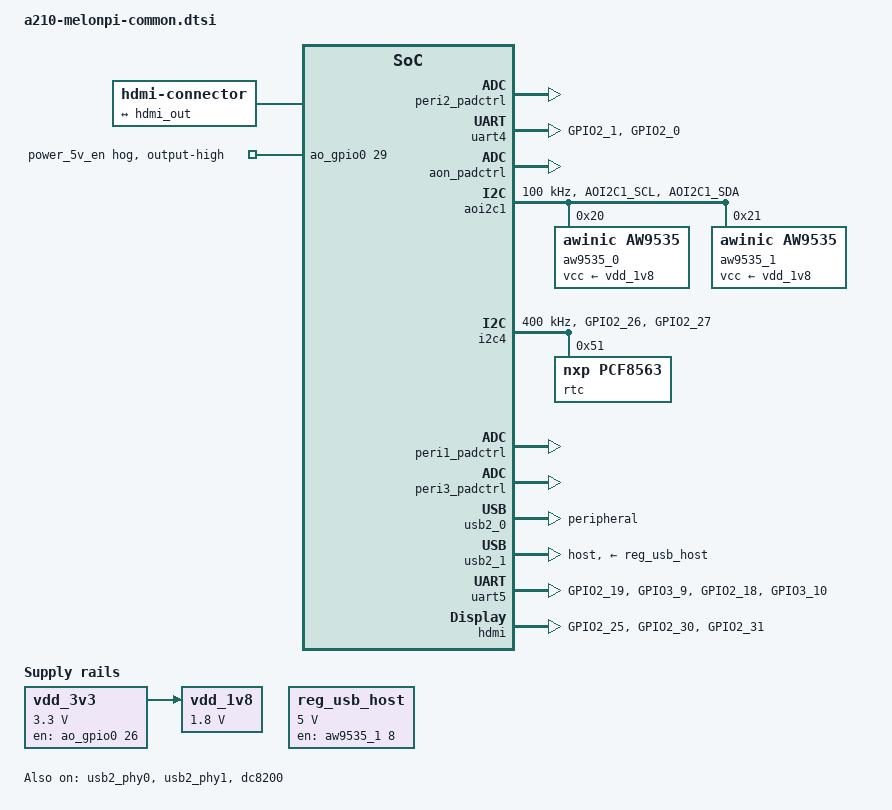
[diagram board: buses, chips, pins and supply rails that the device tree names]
// SPDX-License-Identifier: (GPL-2.0-only OR BSD-2-Clause)

#include "a210-som.dtsi"
#include <dt-bindings/gpio/gpio.h>

/ {
	aliases {
		mmc1 = &sdio;
		serial0 = &uart0;
		serial1 = &uart1;
		serial2 = &uart2;
		serial3 = &uart3;
		serial4 = &uart4;
		serial5 = &uart5;
		serial6 = &uart6;
		serial7 = &uart7;
		serial8 = &uart8;
		serial9 = &uart9;
	};

	chosen {
		stdout-path = "serial4:115200n8";
	};

	hdmi-connector {
		compatible = "hdmi-connector";
		type = "a";

		port {
			hdmi_con_in: endpoint {
				remote-endpoint = <&hdmi_out>;
			};
		};
	};

	vdd_1v8: regulator-1v8 {
		compatible = "regulator-fixed";
		regulator-always-on;
		regulator-max-microvolt = <1800000>;
		regulator-min-microvolt = <1800000>;
		regulator-name = "vdd-1v8";
		vin-supply = <&vdd_3v3>;
	};

	vdd_3v3: regulator-3v3 {
		compatible = "regulator-fixed";
		enable-active-high;
		gpio = <&ao_gpio0 26 GPIO_ACTIVE_HIGH>;
		regulator-always-on;
		regulator-boot-on;
		regulator-max-microvolt = <3300000>;
		regulator-min-microvolt = <3300000>;
		regulator-name = "vdd-3v3";
	};

	reg_usb_host: regulator-usb-host {
		compatible = "regulator-fixed";
		enable-active-high;
		gpio = <&aw9535_1 8 GPIO_ACTIVE_HIGH>;
		regulator-max-microvolt = <5000000>;
		regulator-min-microvolt = <5000000>;
		regulator-name = "usb-host-vbus";
		startup-delay-us = <10000>;
	};
};

&peri2_padctrl {
	status = "okay";

	hdmi_pins: hdmi-0 {
		hdmi-pins {
			pins = "GPIO2_25", "GPIO2_30", "GPIO2_31";
			function = "hdmi";
			bias-disable;
			drive-strength = <3>;
			input-enable;
			input-schmitt-disable;
			slew-rate = <0>;
		};
	};

	i2c4_pins: i2c4-0 {
		bus-pins {
			pins = "GPIO2_26", "GPIO2_27";
			function = "i2c4";
			bias-disable;
			drive-strength = <25>;
			input-enable;
			input-schmitt-enable;
			slew-rate = <1>;
		};
	};

	uart4_pins: uart4-0 {
		rx-pins {
			pins = "GPIO2_1";
			function = "uart4";
			bias-disable;
			drive-strength = <1>;
			input-enable;
			input-schmitt-enable;
			slew-rate = <0>;
		};

		tx-pins {
			pins = "GPIO2_0";
			function = "uart4";
			bias-disable;
			drive-strength = <3>;
			input-disable;
			input-schmitt-disable;
			slew-rate = <0>;
		};
	};

	uart5_pins: uart5-1 {
		rx-pins {
			pins = "GPIO2_19", "GPIO3_9";
			function = "uart5";
			bias-disable;
			drive-strength = <1>;
			input-enable;
			input-schmitt-enable;
			slew-rate = <0>;
		};

		tx-pins {
			pins = "GPIO2_18", "GPIO3_10";
			function = "uart5";
			bias-disable;
			drive-strength = <3>;
			input-disable;
			input-schmitt-disable;
			slew-rate = <0>;
		};
	};
};

&uart4 {
	pinctrl-0 = <&uart4_pins>;
	pinctrl-names = "default";

	status = "okay";
};

&ao_gpio0 {
	power-5v-en-hog {
		gpio-hog;
		gpios = <29 GPIO_ACTIVE_HIGH>;
		line-name = "power_5v_en";
		output-high;
	};
};

&aon_padctrl {
	status = "okay";

	aoi2c1_pins: aoi2c1-0 {
		bus-pins {
			pins = "AOI2C1_SCL", "AOI2C1_SDA";
			function = "aoi2c1";
			bias-disable;
			drive-strength = <25>;
			input-enable;
			input-schmitt-enable;
			slew-rate = <1>;
		};
	};
};

&aoi2c1 {
	clock-frequency = <100000>;
	pinctrl-0 = <&aoi2c1_pins>;
	pinctrl-names = "default";

	status = "okay";

	aw9535_0: gpio@20 {
		compatible = "awinic,aw9535";
		reg = <0x20>;
		#gpio-cells = <2>;
		gpio-controller;
		vcc-supply = <&vdd_1v8>;
	};

	aw9535_1: gpio@21 {
		compatible = "awinic,aw9535";
		reg = <0x21>;
		#gpio-cells = <2>;
		gpio-controller;
		vcc-supply = <&vdd_1v8>;
	};
};

&aw9535_1 {
	download-vbus-off-hog {
		gpio-hog;
		gpios = <9 GPIO_ACTIVE_HIGH>;
		line-name = "download-vbus-off";
		output-low;
	};
};

&i2c4 {
	clock-frequency = <400000>;
	pinctrl-0 = <&i2c4_pins>;
	pinctrl-names = "default";

	status = "okay";

	rtc: rtc@51 {
		compatible = "nxp,pcf8563";
		reg = <0x51>;
		#clock-cells = <0>;
	};
};

&peri1_padctrl {
	status = "okay";
};

&peri3_padctrl {
	status = "okay";

	sdio_pins: sdio-0 {
		clock-pins {
			pins = "SDIO_CLK";
			bias-disable;
		};

		data-pins {
			pins = "SDIO_CMD", "SDIO_DAT0", "SDIO_DAT1",
			       "SDIO_DAT2", "SDIO_DAT3";
			bias-pull-up;
		};

		sdio-pins {
			groups = "sdio";
			function = "sdio";
		};
	};
};

&usb2_phy0 {
	status = "okay";
};

&usb2_phy1 {
	status = "okay";
};

&usb2_0 {
	dr_mode = "peripheral";

	status = "okay";
};

&usb2_1 {
	dr_mode = "host";
	vbus-supply = <&reg_usb_host>;

	status = "okay";
};

&uart5 {
	pinctrl-0 = <&uart5_pins>;
	pinctrl-names = "default";
};

&dc8200 {
	status = "okay";
};

&hdmi {
	pinctrl-0 = <&hdmi_pins>;
	pinctrl-names = "default";

	status = "okay";
};

&hdmi_out {
	remote-endpoint = <&hdmi_con_in>;
};
